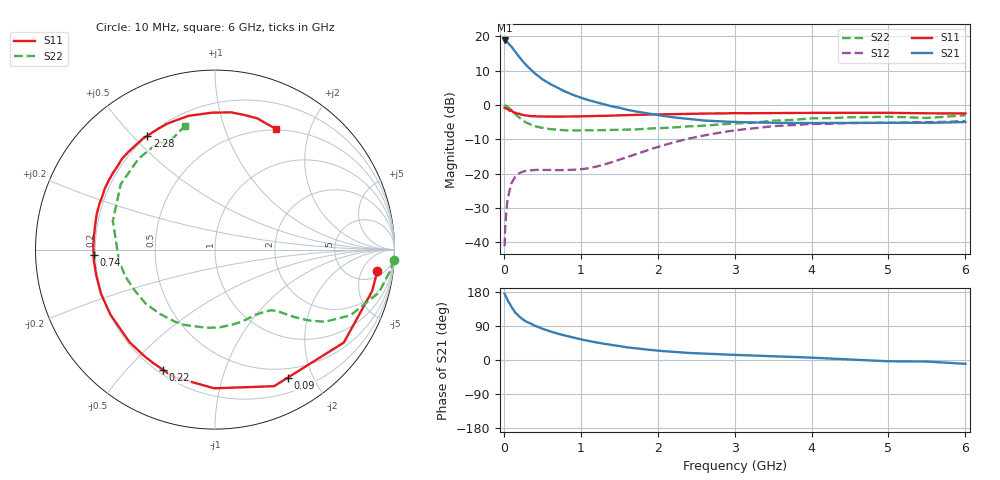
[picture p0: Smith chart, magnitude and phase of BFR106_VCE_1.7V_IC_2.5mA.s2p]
! Infineon Technologies  Discrete & RF Semiconductors
! BFR106
! VCE =  1.7 V,  IC =  2.5 mA
! Common Emitter S-Parameters:  Nov 2015
# GHz  S  MA  R  50
!  f  S11  S21  S12  S22
! GHz  MAG  ANG  MAG  ANG  MAG  ANG  MAG  ANG
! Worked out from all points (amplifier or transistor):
!   210 points, 10 MHz to 6 GHz, reference 50 ohm
!   highest |S21| = 18.8 dB at 10 MHz (marker M1)
!   |S21| within 3 dB of that: start of sweep to 137.9 MHz
!   unconditionally stable (mu >= 1): 737.5 MHz to 2.323 GHz; 3.115 GHz to end of sweep
!   at 185 MHz: K = 0.27, MSG = 17.3 dB, |S12| = -20.2 dB
!   at 1.52 GHz: K = 1.22, MAG = 4.6 dB, |S12| = -15.8 dB
!   at 6 GHz: K = 1.02, MAG = -1.1 dB, |S12| = -4.7 dB
!   S11 on the Smith chart (normalised r, x): 10 MHz: 7, -10; 90 MHz: 0.38, -1.66; 220 MHz: 0.22, -0.63; 740 MHz: 0.19, -0.02; 2.28 GHz: 0.20, +0.55; 6 GHz: 0.49, +1.51
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0.01  0.9124 -7.6  8.692 174.7  0.0088 86.5  0.9967 -3.2
0.02  0.9054 -14.8  8.645 170.8  0.0178 83.4  0.9877 -6.2
0.05  0.8851 -35.8  8.127 157.1  0.0422 70.5  0.9436 -14.8
0.09  0.8204 -60.3  7.217 143.4  0.0666 57.5  0.857 -23.5
0.1  0.8292 -66.6  7.064 139.5  0.073 55.6  0.8388 -25.9
0.15  0.7728 -90.3  5.916 124.6  0.0909 44.2  0.7326 -33.3
0.2  0.7461 -108.1  5.01 114.8  0.1015 37.5  0.6535 -37.1
0.22  0.7293 -113.4  4.699 111.7  0.1038 35.3  0.6278 -38.2
0.26  0.7116 -123.9  4.147 105.2  0.1081 31.6  0.5811 -40.3
0.3  0.7018 -132.7  3.698 100.3  0.1106 29.5  0.5471 -41.8
0.4  0.6863 -147.9  2.901 90.6  0.1135 25.9  0.4915 -44.4
0.5  0.6813 -158.8  2.368 82.4  0.1136 24.7  0.4622 -47.0
0.6  0.6771 -167.7  2.025 75.5  0.1133 25.4  0.446 -50.3
0.74  0.6771 -177.5  1.687 67.6  0.1125 28.3  0.4326 -55.7
1.02  0.6828 167.2  1.255 53.8  0.1165 38.3  0.4267 -67.6
1.4  0.7018 151.1  0.957 39.8  0.1461 53.0  0.4344 -86.6
2.02  0.7292 129.0  0.707 24.3  0.2481 58.1  0.4599 -120.4
2.28  0.7381 120.7  0.647 20.4  0.2992 55.2  0.4762 -135.0
3.1  0.7585 99.2  0.561 12.8  0.4387 38.9  0.5419 -177.9
4.1  0.7687 82.3  0.546 5.2  0.5309 18.3  0.6402 142.1
5.1  0.7653 71.1  0.549 -3.5  0.5547 3.2  0.6698 116.9
6  0.7536 63.3  0.564 -10.1  0.5816 -6.8  0.7087 103.8
